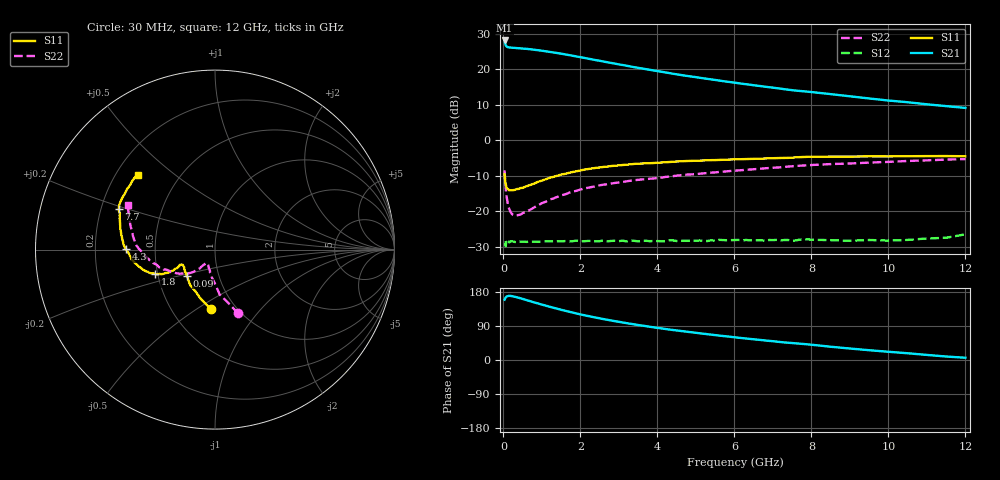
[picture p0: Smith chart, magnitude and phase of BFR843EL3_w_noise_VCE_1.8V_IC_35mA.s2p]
! Infineon Technologies  Discrete & RF Semiconductors
! BFR843EL3
! VCE =  1.8 V,  IC =  35 mA
! Common Emitter S-Parameters:  Aug 2013
# GHz  S  MA  R  50
!  f  S11  S21  S12  S22
! GHz  MAG  ANG  MAG  ANG  MAG  ANG  MAG  ANG
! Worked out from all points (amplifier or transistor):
!   103 points, 30 MHz to 12 GHz, reference 50 ohm
!   highest |S21| = 28.1 dB at 30 MHz (marker M1)
!   |S21| within 3 dB of that: start of sweep to 1.068 GHz
!   unconditionally stable (mu >= 1): 146.8 MHz to 922.5 MHz; 2.696 GHz to 2.725 GHz; 2.857 GHz to end of sweep
!   at 400 MHz: K = 1.01, MAG = 26.6 dB, |S12| = -28.5 dB
!   at 3.7 GHz: K = 1.06, MAG = 22.7 dB, |S12| = -28.2 dB
!   at 12 GHz: K = 1.86, MAG = 12.4 dB, |S12| = -26.4 dB
!   lowest NFmin = 1.43 dB at 450 MHz
!   S11 on the Smith chart (normalised r, x): 30 MHz: 0.77, -0.57; 90 MHz: 0.70, -0.21; 1.8 GHz: 0.49, -0.15; 4.3 GHz: 0.34, +0.00; 7.7 GHz: 0.27, +0.19; 12 GHz: 0.29, +0.38
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0.03  0.3328 -94.0  25.42 159.3  0.0364 23.5  0.3788 -70.0
0.04  0.2836 -106.7  23.52 161.3  0.0366 21.5  0.2952 -77.3
0.06  0.242 -124.6  21.64 165.1  0.0325 16.8  0.2105 -87.6
0.09  0.2139 -137.4  20.8 167.8  0.0366 10.9  0.152 -97.3
0.15  0.1981 -149.3  20.3 169.3  0.0368 7.8  0.1088 -108.3
0.2  0.1983 -153.1  20.13 168.9  0.0381 4.0  0.095 -113.1
0.6  0.2264 -154.5  19.36 158.1  0.0373 3.6  0.0999 -125.0
0.8  0.2469 -154.3  18.82 152.0  0.0376 2.6  0.1143 -127.5
1.2  0.2972 -154.1  17.56 140.5  0.038 3.9  0.147 -130.8
1.5  0.3305 -155.5  16.55 132.5  0.038 3.9  0.1689 -133.8
1.8  0.3594 -157.9  15.49 125.1  0.0382 5.3  0.1905 -136.8
2.1  0.3878 -160.5  14.44 118.1  0.0382 4.2  0.2104 -140.5
2.6  0.4232 -165.7  12.85 107.9  0.0391 4.6  0.2381 -145.5
3.1  0.4503 -170.2  11.47 98.9  0.0388 6.9  0.2601 -150.2
4.1  0.4884 -178.7  9.237 83.4  0.0381 8.6  0.2991 -158.2
4.3  0.4958 179.8  8.844 80.5  0.0392 10.8  0.3091 -159.8
5.1  0.5192 173.6  7.593 70.4  0.0391 10.0  0.3395 -166.0
6.1  0.5424 166.8  6.37 58.9  0.0398 12.5  0.3782 -172.6
7.7  0.5813 157.2  4.956 43.0  0.0403 16.6  0.4402 176.6
8.5  0.5917 151.2  4.471 35.0  0.0395 15.9  0.4641 170.4
10.5  0.5984 140.9  3.439 17.8  0.0398 27.7  0.5133 159.4
12  0.5983 135.8  2.86 6.0  0.0477 38.4  0.5465 152.9
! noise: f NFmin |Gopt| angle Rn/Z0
0.45  1.43  0.2  177  0.13
0.9  1.45  0.21  174  0.12
1.5  1.45  0.23  173  0.11
1.9  1.44  0.23  174  0.11
2.4  1.46  0.25  178  0.11
3.5  1.46  0.26  182  0.11
5.5  1.47  0.33  195  0.09
8  1.49  0.43  210  0.09
10  1.5  0.51  227  0.11
